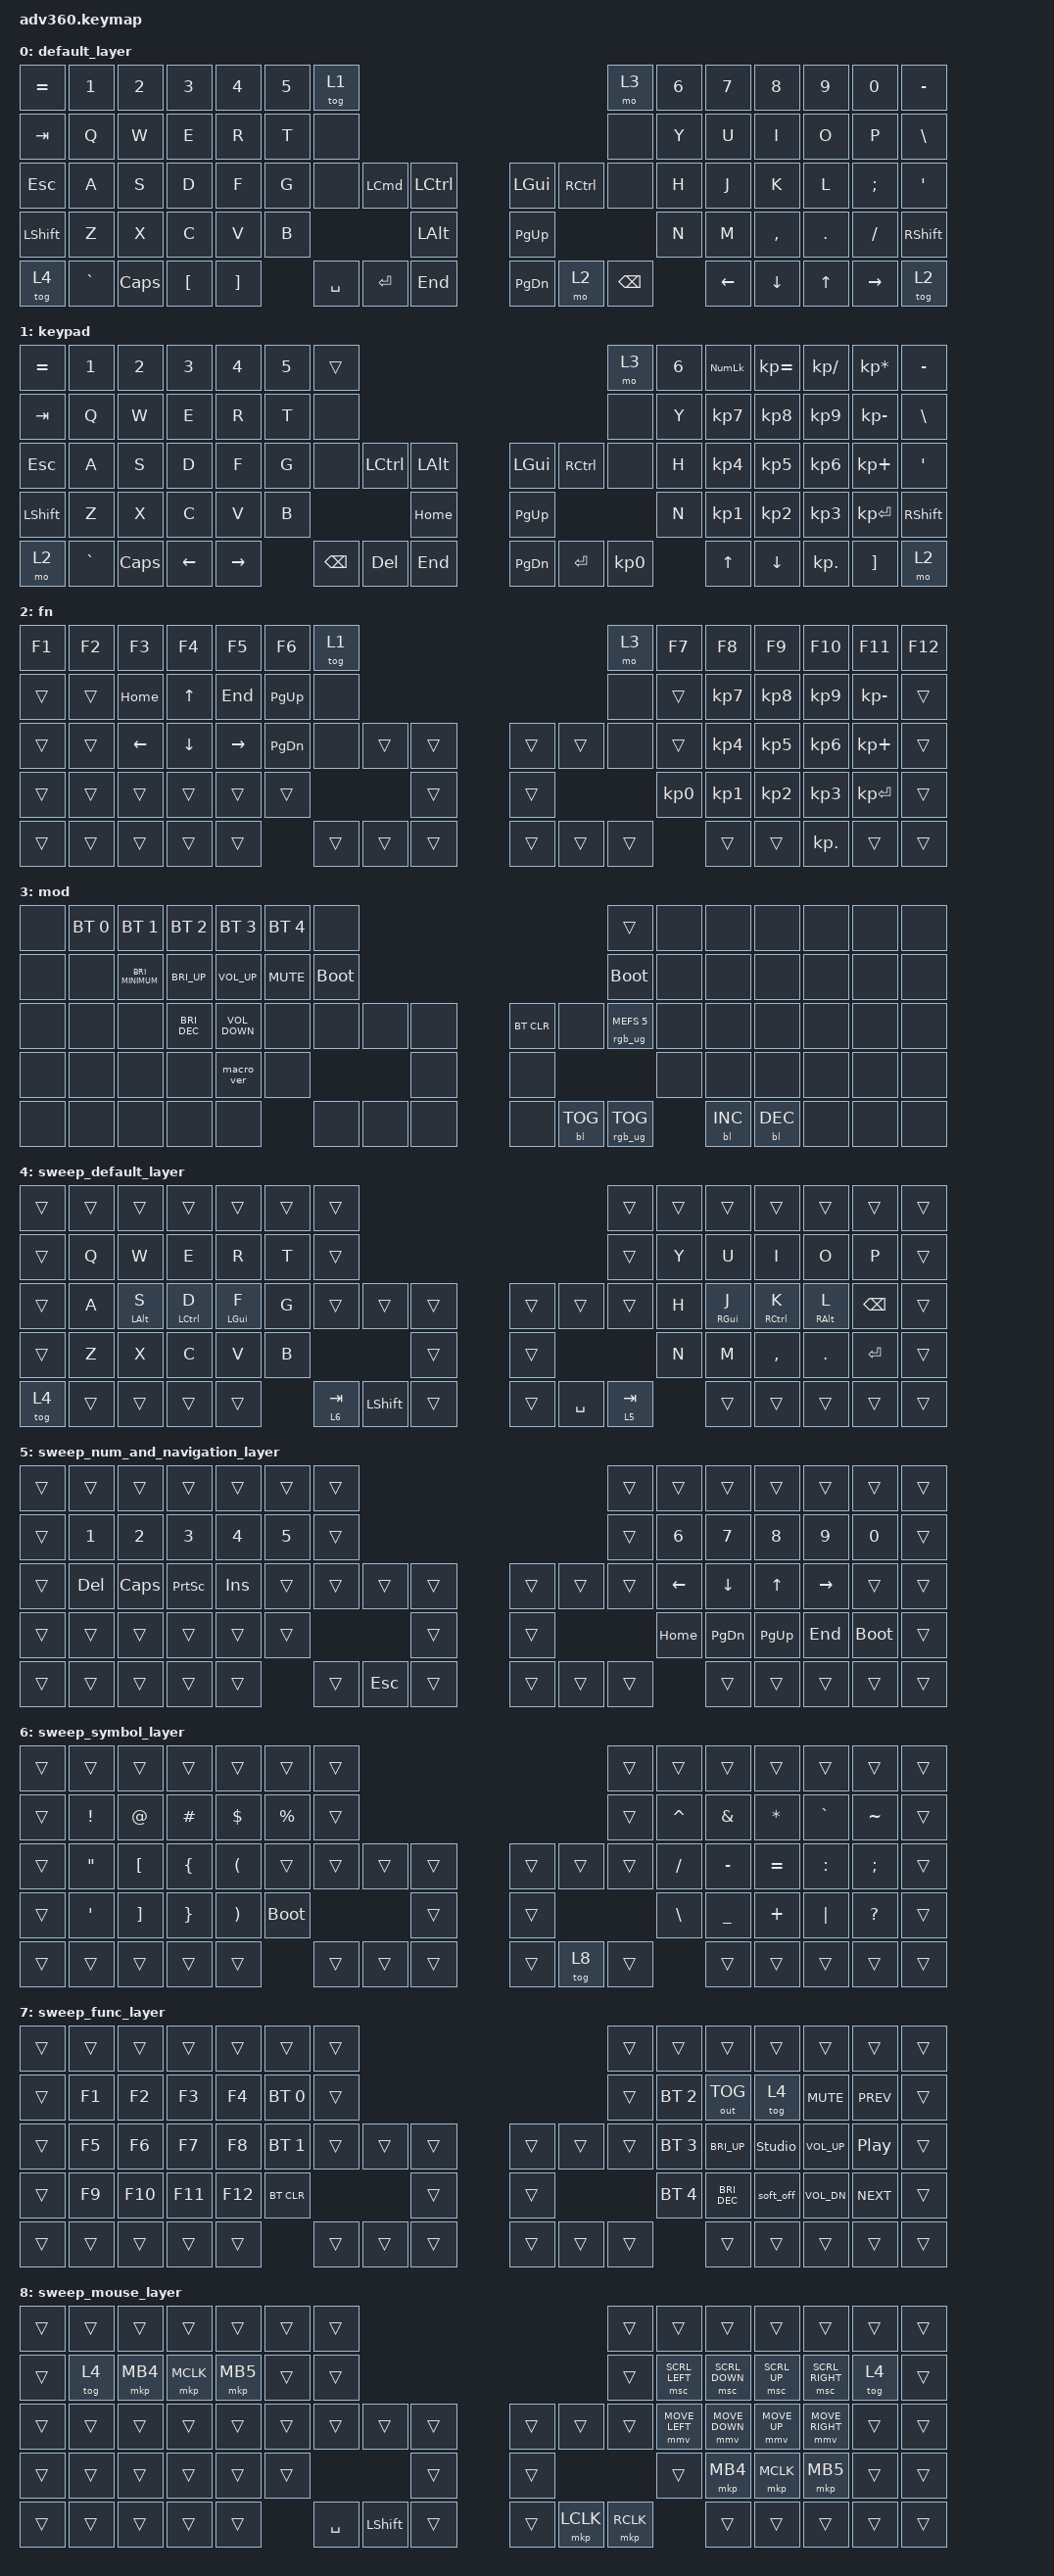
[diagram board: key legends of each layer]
#include <behaviors.dtsi>
#include <dt-bindings/zmk/backlight.h>
#include <dt-bindings/zmk/bt.h>
#include <dt-bindings/zmk/keys.h>
#include <dt-bindings/zmk/outputs.h>
#include <dt-bindings/zmk/pointing.h>
#include <dt-bindings/zmk/rgb.h>

/ {
    behaviors {
        #include "macros.dtsi"
      #include "version.dtsi"
      #ifndef VERSION_MACRO

        macro_ver: macro_ver {
            compatible = "zmk,behavior-macro";
            label = "macro_version";
            #binding-cells = <0>;
            bindings = <&kp RET>;
        };

        #endif

        hm: homerow_mods {
            compatible = "zmk,behavior-hold-tap";
            label = "HOMEROW_MODS";
            #binding-cells = <2>;
            tapping-term-ms = <140>;
            flavor = "tap-preferred";
            bindings = <&kp>, <&kp>;

            quick-tap-ms = <115>;
        };
    };

    macros {
    };

    combos {
        compatible = "zmk,combos";

        trigger_tri {
            bindings = <&lt 7 TAB>;
            key-positions = <65 70>;
            layers = <4>;
        };
    };

    keymap {
        compatible = "zmk,keymap";

        default_layer {
            bindings = <
&kp EQUAL  &kp N1     &kp N2    &kp N3            &kp N4             &kp N5  &tog 1                                                                   &mo 3          &kp N6  &kp N7    &kp N8     &kp N9        &kp N0     &kp MINUS
&kp TAB    &kp Q      &kp W     &kp E             &kp R              &kp T   &none                                                                    &none          &kp Y   &kp U     &kp I      &kp O         &kp P      &kp BSLH
&kp ESC    &kp A      &kp S     &kp D             &kp F              &kp G   &none      &kp LEFT_COMMAND  &kp LEFT_CONTROL      &kp LGUI   &kp RCTRL  &none          &kp H   &kp J     &kp K      &kp L         &kp SEMI   &kp SQT
&kp LSHFT  &kp Z      &kp X     &kp C             &kp V              &kp B                                &kp LEFT_ALT          &kp PG_UP                            &kp N   &kp M     &kp COMMA  &kp DOT       &kp FSLH   &kp RSHFT
&tog 4     &kp GRAVE  &kp CAPS  &kp LEFT_BRACKET  &kp RIGHT_BRACKET          &kp SPACE  &kp ENTER         &kp END               &kp PG_DN  &mo 2      &kp BACKSPACE          &kp LEFT  &kp DOWN   &kp UP_ARROW  &kp RIGHT  &tog 2
            >;
        };

        keypad {
            bindings = <
&kp EQUAL  &kp N1     &kp N2    &kp N3    &kp N4     &kp N5  &trans                                                   &mo 3      &kp N6  &kp KP_NUM  &kp KP_EQUAL  &kp KP_DIVIDE  &kp KP_MULTIPLY  &kp MINUS
&kp TAB    &kp Q      &kp W     &kp E     &kp R      &kp T   &none                                                    &none      &kp Y   &kp KP_N7   &kp KP_N8     &kp KP_N9      &kp KP_MINUS     &kp BSLH
&kp ESC    &kp A      &kp S     &kp D     &kp F      &kp G   &none     &kp LCTRL  &kp LALT      &kp LGUI   &kp RCTRL  &none      &kp H   &kp KP_N4   &kp KP_N5     &kp KP_N6      &kp KP_PLUS      &kp SQT
&kp LSHFT  &kp Z      &kp X     &kp C     &kp V      &kp B                        &kp HOME      &kp PG_UP                        &kp N   &kp KP_N1   &kp KP_N2     &kp KP_N3      &kp KP_ENTER     &kp RSHFT
&mo 2      &kp GRAVE  &kp CAPS  &kp LEFT  &kp RIGHT          &kp BSPC  &kp DEL    &kp END       &kp PG_DN  &kp ENTER  &kp KP_N0          &kp UP      &kp DOWN      &kp KP_DOT     &kp RBKT         &mo 2
            >;
        };

        fn {
            bindings = <
&kp F1  &kp F2  &kp F3    &kp F4        &kp F5     &kp F6         &tog 1                                      &mo 3   &kp F7           &kp F8           &kp F9           &kp F10          &kp F11          &kp F12
&trans  &trans  &kp HOME  &kp UP_ARROW  &kp END    &kp PAGE_UP    &none                                       &none   &trans           &kp KP_NUMBER_7  &kp KP_NUMBER_8  &kp KP_NUMBER_9  &kp KP_SUBTRACT  &trans
&trans  &trans  &kp LEFT  &kp DOWN      &kp RIGHT  &kp PAGE_DOWN  &none   &trans  &trans      &trans  &trans  &none   &trans           &kp KP_NUMBER_4  &kp KP_NUMBER_5  &kp KP_NUMBER_6  &kp KP_PLUS      &trans
&trans  &trans  &trans    &trans        &trans     &trans                         &trans      &trans                  &kp KP_NUMBER_0  &kp KP_NUMBER_1  &kp KP_NUMBER_2  &kp KP_NUMBER_3  &kp KP_ENTER     &trans
&trans  &trans  &trans    &trans        &trans                    &trans  &trans  &trans      &trans  &trans  &trans                   &trans           &trans           &kp KP_DOT       &trans           &trans
            >;
        };

        mod {
            bindings = <
&none  &bt BT_SEL 0  &bt BT_SEL 1              &bt BT_SEL 2   &bt BT_SEL 3       &bt BT_SEL 4  &none                                                  &trans                  &none  &none       &none       &none  &none  &none
&none  &none         &kp C_BRIGHTNESS_MINIMUM  &kp C_BRI_UP   &kp C_VOLUME_UP    &kp K_MUTE    &bootloader                                            &bootloader             &none  &none       &none       &none  &none  &none
&none  &none         &none                     &kp C_BRI_DEC  &kp C_VOLUME_DOWN  &none         &none        &none  &none      &bt BT_CLR  &none       &rgb_ug RGB_MEFS_CMD 5  &none  &none       &none       &none  &none  &none
&none  &none         &none                     &none          &macro_ver         &none                             &none      &none                                           &none  &none       &none       &none  &none  &none
&none  &none         &none                     &none          &none                            &none        &none  &none      &none       &bl BL_TOG  &rgb_ug RGB_TOG                &bl BL_INC  &bl BL_DEC  &none  &none  &none
            >;
        };

        sweep_default_layer {
            bindings = <
&trans  &trans  &trans          &trans              &trans          &trans  &trans                                                    &trans     &trans  &trans           &trans               &trans           &trans         &trans
&trans  &kp Q   &kp W           &kp E               &kp R           &kp T   &trans                                                    &trans     &kp Y   &kp U            &kp I                &kp O            &kp P          &trans
&trans  &kp A   &hm LEFT_ALT S  &hm LEFT_CONTROL D  &hm LEFT_GUI F  &kp G   &trans     &trans          &trans      &trans  &trans     &trans     &kp H   &hm RIGHT_GUI J  &hm RIGHT_CONTROL K  &hm RIGHT_ALT L  &kp BACKSPACE  &trans
&trans  &kp Z   &kp X           &kp C               &kp V           &kp B                              &trans      &trans                        &kp N   &kp M            &kp COMMA            &kp DOT          &kp RETURN     &trans
&tog 4  &trans  &trans          &trans              &trans                  &lt 6 TAB  &kp LEFT_SHIFT  &trans      &trans  &kp SPACE  &lt 5 TAB          &trans           &trans               &trans           &trans         &trans
            >;
        };

        sweep_num_and_navigation_layer {
            bindings = <
&trans  &trans      &trans        &trans           &trans      &trans  &trans                                          &trans  &trans    &trans         &trans       &trans     &trans       &trans
&trans  &kp N1      &kp N2        &kp N3           &kp N4      &kp N5  &trans                                          &trans  &kp N6    &kp N7         &kp N8       &kp N9     &kp N0       &trans
&trans  &kp DELETE  &kp CAPSLOCK  &kp PRINTSCREEN  &kp INSERT  &trans  &trans  &trans      &trans      &trans  &trans  &trans  &kp LEFT  &kp DOWN       &kp UP       &kp RIGHT  &trans       &trans
&trans  &trans      &trans        &trans           &trans      &trans                      &trans      &trans                  &kp HOME  &kp PAGE_DOWN  &kp PAGE_UP  &kp END    &bootloader  &trans
&trans  &trans      &trans        &trans           &trans              &trans  &kp ESCAPE  &trans      &trans  &trans  &trans            &trans         &trans       &trans     &trans       &trans
            >;
        };

        sweep_symbol_layer {
            bindings = <
&trans  &trans    &trans    &trans    &trans    &trans       &trans                                      &trans  &trans     &trans     &trans     &trans     &trans     &trans
&trans  &kp EXCL  &kp AT    &kp HASH  &kp DLLR  &kp PRCNT    &trans                                      &trans  &kp CARET  &kp AMPS   &kp ASTRK  &kp GRAVE  &kp TILDE  &trans
&trans  &kp DQT   &kp LBKT  &kp LBRC  &kp LPAR  &trans       &trans  &trans  &trans      &trans  &trans  &trans  &kp FSLH   &kp MINUS  &kp EQUAL  &kp COLON  &kp SEMI   &trans
&trans  &kp SQT   &kp RBKT  &kp RBRC  &kp RPAR  &bootloader                  &trans      &trans                  &kp BSLH   &kp UNDER  &kp PLUS   &kp PIPE   &kp QMARK  &trans
&trans  &trans    &trans    &trans    &trans                 &trans  &trans  &trans      &trans  &tog 8  &trans             &trans     &trans     &trans     &trans     &trans
            >;
        };

        sweep_func_layer {
            bindings = <
&trans  &trans  &trans   &trans   &trans   &trans        &trans                                      &trans  &trans        &trans         &trans          &trans        &trans      &trans
&trans  &kp F1  &kp F2   &kp F3   &kp F4   &bt BT_SEL 0  &trans                                      &trans  &bt BT_SEL 2  &out OUT_TOG   &tog 4          &kp C_MUTE    &kp C_PREV  &trans
&trans  &kp F5  &kp F6   &kp F7   &kp F8   &bt BT_SEL 1  &trans  &trans  &trans      &trans  &trans  &trans  &bt BT_SEL 3  &kp C_BRI_UP   &studio_unlock  &kp C_VOL_UP  &kp C_PP    &trans
&trans  &kp F9  &kp F10  &kp F11  &kp F12  &bt BT_CLR                    &trans      &trans                  &bt BT_SEL 4  &kp C_BRI_DEC  &soft_off       &kp C_VOL_DN  &kp C_NEXT  &trans
&trans  &trans  &trans   &trans   &trans                 &trans  &trans  &trans      &trans  &trans  &trans                &trans         &trans          &trans        &trans      &trans
            >;
        };

        sweep_mouse_layer {
            bindings = <
&trans  &trans  &trans    &trans     &trans    &trans  &trans                                                    &trans     &trans          &trans          &trans        &trans           &trans  &trans
&trans  &tog 4  &mkp MB4  &mkp MCLK  &mkp MB5  &trans  &trans                                                    &trans     &msc SCRL_LEFT  &msc SCRL_DOWN  &msc SCRL_UP  &msc SCRL_RIGHT  &tog 4  &trans
&trans  &trans  &trans    &trans     &trans    &trans  &trans     &trans          &trans      &trans  &trans     &trans     &mmv MOVE_LEFT  &mmv MOVE_DOWN  &mmv MOVE_UP  &mmv MOVE_RIGHT  &trans  &trans
&trans  &trans  &trans    &trans     &trans    &trans                             &trans      &trans                        &trans          &mkp MB4        &mkp MCLK     &mkp MB5         &trans  &trans
&trans  &trans  &trans    &trans     &trans            &kp SPACE  &kp LEFT_SHIFT  &trans      &trans  &mkp LCLK  &mkp RCLK                  &trans          &trans        &trans           &trans  &trans
            >;
        };
    };
};
